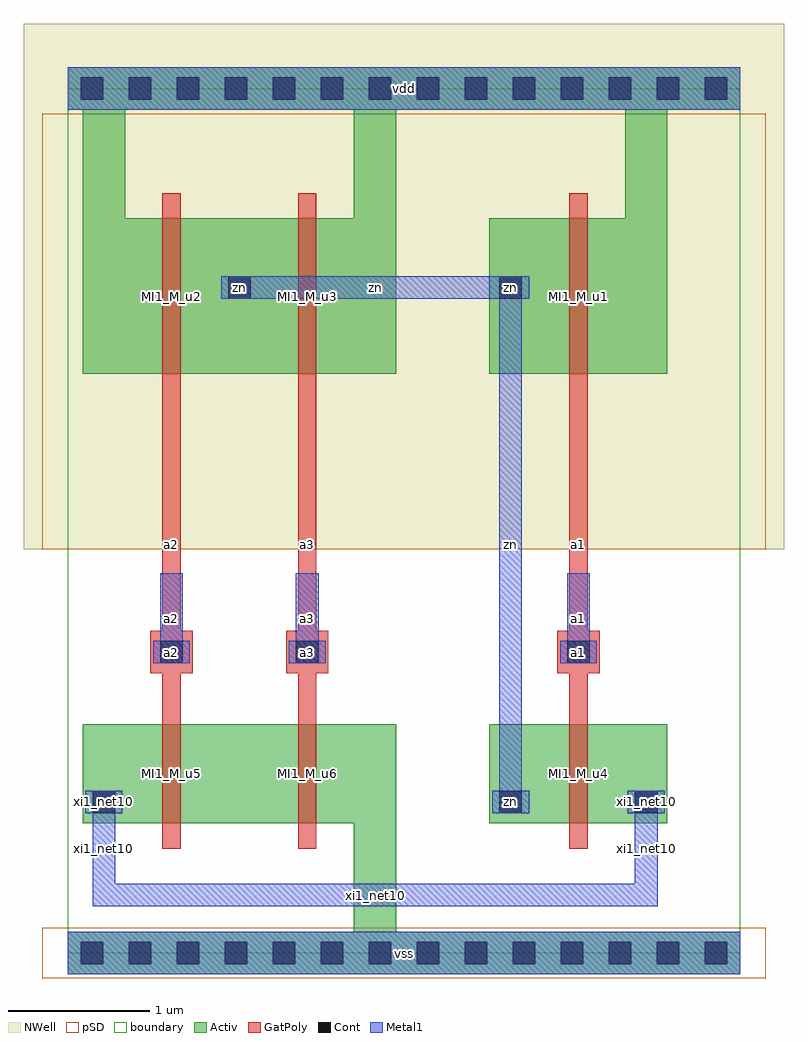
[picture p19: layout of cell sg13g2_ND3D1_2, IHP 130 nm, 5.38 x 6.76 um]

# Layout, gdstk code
import gdstk
lib = gdstk.Library(unit=1e-6, precision=1e-09)
def R(c, l, rs):  # rectangles x0, y0, x1, y1
    for r in rs: c.add(gdstk.rectangle(r[:2], r[2:], *l))
def A(c, l, x, y, w, h, nx, ny, dx, dy):  # array of equal rectangles
    R(c, l, [(x+i*dx, y+j*dy, x+i*dx+w, y+j*dy+h) for i in range(nx) for j in range(ny)])
Activ = (1, 0)
GatPoly = (5, 0)
Cont = (6, 0)
Metal1 = (8, 0)
pSD = (14, 0)
NWell = (31, 0)
TEXT = (63, 0)
boundary = (189, 4)

sg13g2_nd3d1_2 = lib.new_cell('sg13g2_ND3D1_2')
A(sg13g2_nd3d1_2, Activ, 0.105, 4.71, 0.3, 1.26, 3, 1, 1.92, 0)
R(sg13g2_nd3d1_2, Activ, [(0,-0.15,4.76,0.15), (2.025,0.15,2.325,1.07), (0.105,0.92,1.365,1.62), (0.105,0.92,0.405,1.22), (1.065,0.92,2.325,1.62), (2.985,0.92,4.245,1.62), (2.985,0.92,3.285,1.22), (3.945,0.92,4.245,1.22), (0.105,4.1,1.365,5.2), (1.065,4.1,2.325,5.2), (2.985,4.1,4.245,5.2), (1.065,4.56,1.365,4.86), (2.985,4.56,3.285,4.86), (0,5.97,4.76,6.27)])
R(sg13g2_nd3d1_2, GatPoly, [(0.67,0.74,0.8,1.8), (1.63,0.74,1.76,1.8), (3.55,0.74,3.68,1.8), (0.67,1.005,0.8,4.775), (1.63,1.005,1.76,4.775), (3.55,1.005,3.68,4.775), (0.585,1.98,0.885,2.28), (1.545,1.98,1.845,2.28), (3.465,1.98,3.765,2.28), (0.67,3.92,0.8,5.38), (1.63,3.92,1.76,5.38), (3.55,3.92,3.68,5.38)])
A(sg13g2_nd3d1_2, Cont, 0.09, -0.08, 0.16, 0.16, 14, 2, 0.34, 6.12)
R(sg13g2_nd3d1_2, Cont, [(0.175,0.99,0.335,1.15), (3.055,0.99,3.215,1.15), (4.015,0.99,4.175,1.15), (0.655,2.05,0.815,2.21), (1.615,2.05,1.775,2.21), (3.535,2.05,3.695,2.21), (1.135,4.63,1.295,4.79), (3.055,4.63,3.215,4.79)])
R(sg13g2_nd3d1_2, Metal1, [(0,-0.15,4.76,0.15), (0.175,0.33,0.335,1.15), (0.175,0.33,4.175,0.49), (4.015,0.33,4.175,1.15), (0.125,0.99,0.385,1.15), (3.005,0.99,3.265,1.15), (3.055,0.99,3.215,4.79), (3.965,0.99,4.225,1.15), (0.605,2.05,0.865,2.21), (0.655,2.05,0.815,2.69), (1.565,2.05,1.825,2.21), (1.615,2.05,1.775,2.69), (3.485,2.05,3.745,2.21), (3.535,2.05,3.695,2.69), (1.085,4.63,1.345,4.79), (1.135,4.63,3.215,4.79), (3.005,4.63,3.265,4.79), (0,5.97,4.76,6.27)])
R(sg13g2_nd3d1_2, pSD, [(-0.18,-0.18,4.94,0.18), (-0.18,2.86,4.94,5.94)])
R(sg13g2_nd3d1_2, NWell, [(-0.31,2.86,5.07,6.58)])
R(sg13g2_nd3d1_2, boundary, [(0,0,4.76,6.12)])
sg13g2_nd3d1_2.add(gdstk.FlexPath([(0.105,0.41),(4.245,0.41)], 0, ends="flush", simple_path=True, layer=63, datatype=0))  # TEXT
sg13g2_nd3d1_2.add(gdstk.FlexPath([(0.105,1.07),(4.245,1.07)], 0, ends="flush", simple_path=True, layer=63, datatype=0))  # TEXT
sg13g2_nd3d1_2.add(gdstk.FlexPath([(0.105,1.47),(4.245,1.47)], 0, ends="flush", simple_path=True, layer=63, datatype=0))  # TEXT
sg13g2_nd3d1_2.add(gdstk.FlexPath([(0.105,2.13),(4.245,2.13)], 0, ends="flush", simple_path=True, layer=63, datatype=0))  # TEXT
sg13g2_nd3d1_2.add(gdstk.FlexPath([(0.105,2.61),(4.245,2.61)], 0, ends="flush", simple_path=True, layer=63, datatype=0))  # TEXT
sg13g2_nd3d1_2.add(gdstk.FlexPath([(0.105,3.09),(4.245,3.09)], 0, ends="flush", simple_path=True, layer=63, datatype=0))  # TEXT
sg13g2_nd3d1_2.add(gdstk.FlexPath([(0.105,3.57),(4.245,3.57)], 0, ends="flush", simple_path=True, layer=63, datatype=0))  # TEXT
sg13g2_nd3d1_2.add(gdstk.FlexPath([(0.105,4.25),(4.245,4.25)], 0, ends="flush", simple_path=True, layer=63, datatype=0))  # TEXT
sg13g2_nd3d1_2.add(gdstk.FlexPath([(0.105,4.71),(4.245,4.71)], 0, ends="flush", simple_path=True, layer=63, datatype=0))  # TEXT
sg13g2_nd3d1_2.add(gdstk.FlexPath([(0.105,5.05),(4.245,5.05)], 0, ends="flush", simple_path=True, layer=63, datatype=0))  # TEXT
sg13g2_nd3d1_2.add(gdstk.FlexPath([(0.105,5.71),(4.245,5.71)], 0, ends="flush", simple_path=True, layer=63, datatype=0))  # TEXT
sg13g2_nd3d1_2.add(gdstk.FlexPath([(0.255,0.15),(0.255,5.97)], 0, ends="flush", simple_path=True, layer=63, datatype=0))  # TEXT
sg13g2_nd3d1_2.add(gdstk.FlexPath([(0.735,0.15),(0.735,5.97)], 0, ends="flush", simple_path=True, layer=63, datatype=0))  # TEXT
sg13g2_nd3d1_2.add(gdstk.FlexPath([(1.215,0.15),(1.215,5.97)], 0, ends="flush", simple_path=True, layer=63, datatype=0))  # TEXT
sg13g2_nd3d1_2.add(gdstk.FlexPath([(1.695,0.15),(1.695,5.97)], 0, ends="flush", simple_path=True, layer=63, datatype=0))  # TEXT
sg13g2_nd3d1_2.add(gdstk.FlexPath([(2.175,0.15),(2.175,5.97)], 0, ends="flush", simple_path=True, layer=63, datatype=0))  # TEXT
sg13g2_nd3d1_2.add(gdstk.FlexPath([(2.655,0.15),(2.655,5.97)], 0, ends="flush", simple_path=True, layer=63, datatype=0))  # TEXT
sg13g2_nd3d1_2.add(gdstk.FlexPath([(3.135,0.15),(3.135,5.97)], 0, ends="flush", simple_path=True, layer=63, datatype=0))  # TEXT
sg13g2_nd3d1_2.add(gdstk.FlexPath([(3.615,0.15),(3.615,5.97)], 0, ends="flush", simple_path=True, layer=63, datatype=0))  # TEXT
sg13g2_nd3d1_2.add(gdstk.FlexPath([(4.095,0.15),(4.095,5.97)], 0, ends="flush", simple_path=True, layer=63, datatype=0))  # TEXT
sg13g2_nd3d1_2.add(gdstk.Label('zn', (3.135,1.07), layer=6, texttype=0))
sg13g2_nd3d1_2.add(gdstk.Label('zn', (1.215,4.71), layer=6, texttype=0))
sg13g2_nd3d1_2.add(gdstk.Label('zn', (3.135,4.71), layer=6, texttype=0))
sg13g2_nd3d1_2.add(gdstk.Label('a1', (3.615,2.13), layer=6, texttype=0))
sg13g2_nd3d1_2.add(gdstk.Label('xi1_net10', (4.095,1.07), layer=6, texttype=0))
sg13g2_nd3d1_2.add(gdstk.Label('xi1_net10', (0.255,1.07), layer=6, texttype=0))
sg13g2_nd3d1_2.add(gdstk.Label('a2', (0.735,2.13), layer=6, texttype=0))
sg13g2_nd3d1_2.add(gdstk.Label('a3', (1.695,2.13), layer=6, texttype=0))
sg13g2_nd3d1_2.add(gdstk.Label('xi1_net10', (4.095,1.07), layer=8, texttype=0))
sg13g2_nd3d1_2.add(gdstk.Label('xi1_net10', (0.255,1.07), layer=8, texttype=0))
sg13g2_nd3d1_2.add(gdstk.Label('xi1_net10', (4.095,0.74), layer=8, texttype=0))
sg13g2_nd3d1_2.add(gdstk.Label('xi1_net10', (2.175,0.41), layer=8, texttype=0))
sg13g2_nd3d1_2.add(gdstk.Label('xi1_net10', (0.255,0.74), layer=8, texttype=0))
sg13g2_nd3d1_2.add(gdstk.Label('zn', (3.135,1.07), layer=8, texttype=25))
sg13g2_nd3d1_2.add(gdstk.Label('zn', (1.215,4.71), layer=8, texttype=25))
sg13g2_nd3d1_2.add(gdstk.Label('zn', (3.135,4.71), layer=8, texttype=25))
sg13g2_nd3d1_2.add(gdstk.Label('zn', (3.135,2.89), layer=8, texttype=25))
sg13g2_nd3d1_2.add(gdstk.Label('zn', (2.175,4.71), layer=8, texttype=25))
sg13g2_nd3d1_2.add(gdstk.Label('a1', (3.615,2.13), layer=8, texttype=25))
sg13g2_nd3d1_2.add(gdstk.Label('a1', (3.615,2.37), layer=8, texttype=25))
sg13g2_nd3d1_2.add(gdstk.Label('a2', (0.735,2.13), layer=8, texttype=25))
sg13g2_nd3d1_2.add(gdstk.Label('a2', (0.735,2.37), layer=8, texttype=25))
sg13g2_nd3d1_2.add(gdstk.Label('a3', (1.695,2.13), layer=8, texttype=25))
sg13g2_nd3d1_2.add(gdstk.Label('a3', (1.695,2.37), layer=8, texttype=25))
sg13g2_nd3d1_2.add(gdstk.Label('vss', (2.38,0), layer=8, texttype=25))
sg13g2_nd3d1_2.add(gdstk.Label('vdd', (2.38,6.12), layer=8, texttype=25))
sg13g2_nd3d1_2.add(gdstk.Label('MI1_M_u4', (3.615,1.27), layer=1, texttype=0))
sg13g2_nd3d1_2.add(gdstk.Label('MI1_M_u5', (0.735,1.27), layer=1, texttype=0))
sg13g2_nd3d1_2.add(gdstk.Label('MI1_M_u6', (1.695,1.27), layer=1, texttype=0))
sg13g2_nd3d1_2.add(gdstk.Label('MI1_M_u3', (1.695,4.65), layer=1, texttype=0))
sg13g2_nd3d1_2.add(gdstk.Label('MI1_M_u1', (3.615,4.65), layer=1, texttype=0))
sg13g2_nd3d1_2.add(gdstk.Label('MI1_M_u2', (0.735,4.65), layer=1, texttype=0))
sg13g2_nd3d1_2.add(gdstk.Label('zn', (3.135,1.07), layer=1, texttype=0))
sg13g2_nd3d1_2.add(gdstk.Label('zn', (1.215,4.71), layer=1, texttype=0))
sg13g2_nd3d1_2.add(gdstk.Label('zn', (3.135,4.71), layer=1, texttype=0))
sg13g2_nd3d1_2.add(gdstk.Label('xi1_net10', (4.095,1.07), layer=1, texttype=0))
sg13g2_nd3d1_2.add(gdstk.Label('xi1_net10', (0.255,1.07), layer=1, texttype=0))
sg13g2_nd3d1_2.add(gdstk.Label('a1', (3.615,2.89), layer=5, texttype=0))
sg13g2_nd3d1_2.add(gdstk.Label('a1', (3.615,2.13), layer=5, texttype=0))
sg13g2_nd3d1_2.add(gdstk.Label('a2', (0.735,2.89), layer=5, texttype=0))
sg13g2_nd3d1_2.add(gdstk.Label('a2', (0.735,2.13), layer=5, texttype=0))
sg13g2_nd3d1_2.add(gdstk.Label('a3', (1.695,2.89), layer=5, texttype=0))
sg13g2_nd3d1_2.add(gdstk.Label('a3', (1.695,2.13), layer=5, texttype=0))

lib.write_gds('sg13g2_ND3D1_2.gds')
